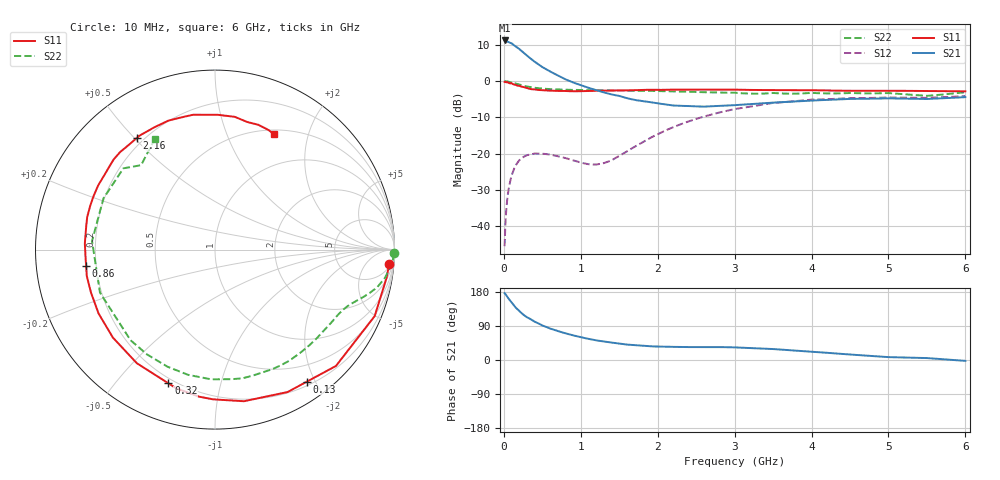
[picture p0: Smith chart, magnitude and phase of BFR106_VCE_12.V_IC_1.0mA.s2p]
! Infineon Technologies  Discrete & RF Semiconductors
! BFR106
! VCE =  12. V,  IC =  1.0 mA
! Common Emitter S-Parameters:  Nov 2015
# GHz  S  MA  R  50
!  f  S11  S21  S12  S22
! GHz  MAG  ANG  MAG  ANG  MAG  ANG  MAG  ANG
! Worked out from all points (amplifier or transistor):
!   210 points, 10 MHz to 6 GHz, reference 50 ohm
!   highest |S21| = 11.2 dB at 10 MHz (marker M1)
!   |S21| within 3 dB of that: start of sweep to 236.8 MHz
!   unconditionally stable (mu >= 1): 854.3 MHz to 1.828 GHz; 3.075 GHz to end of sweep
!   at 185 MHz: K = 0.20, MSG = 15.7 dB, |S12| = -22.3 dB
!   at 1.52 GHz: K = 1.26, MAG = 5.0 dB, |S12| = -20.4 dB
!   at 6 GHz: K = 1.02, MAG = -1.0 dB, |S12| = -4.2 dB
!   S11 on the Smith chart (normalised r, x): 10 MHz: 7, -22; 130 MHz: 0.25, -1.89; 320 MHz: 0.18, -0.70; 860 MHz: 0.16, -0.06; 2.16 GHz: 0.17, +0.51; 6 GHz: 0.56, +1.49
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0.01  0.9737 -4.7  3.624 176.3  0.0053 88.5  0.9999 -1.2
0.025  0.9646 -11.4  3.572 172.7  0.0132 81.8  0.9951 -2.6
0.05  0.9638 -22.6  3.496 164.8  0.0266 77.1  0.9867 -5.0
0.1  0.9351 -43.9  3.322 152.1  0.0497 66.4  0.9597 -9.5
0.13  0.8963 -55.2  3.126 144.6  0.0605 59.0  0.9399 -11.6
0.15  0.8907 -63.0  3.029 139.1  0.0681 55.4  0.9275 -13.1
0.2  0.8601 -79.2  2.767 129.3  0.0808 47.8  0.8946 -15.7
0.26  0.8243 -96.1  2.447 118.6  0.0906 39.7  0.8596 -18.3
0.32  0.789 -109.2  2.157 110.9  0.0959 34.3  0.8337 -20.3
0.4  0.7684 -124.5  1.847 101.1  0.1002 27.8  0.8072 -22.6
0.5  0.751 -139.2  1.559 91.1  0.0999 22.9  0.7864 -25.4
0.7  0.7313 -160.8  1.195 76.4  0.0921 19.3  0.7661 -31.6
0.86  0.7239 -172.7  0.995 67.3  0.0833 21.7  0.7564 -36.6
1.02  0.7257 176.0  0.862 59.2  0.0743 29.4  0.751 -42.2
1.38  0.7387 156.7  0.662 46.6  0.0792 62.4  0.7443 -55.7
2.02  0.7556 130.0  0.49 35.2  0.1893 80.7  0.7268 -83.3
2.16  0.7594 125.0  0.467 34.8  0.2216 79.3  0.7226 -89.8
3.1  0.7571 97.1  0.473 32.4  0.4264 56.6  0.6774 -138.2
3.5  0.7512 88.8  0.504 28.9  0.4995 46.0  0.6842 -159.5
4.1  0.7443 80.4  0.544 20.5  0.5578 30.7  0.6791 171.9
5.1  0.7343 69.9  0.575 7.1  0.5911 11.5  0.67 137.1
6  0.7214 62.8  0.6 -2.3  0.6194 -0.3  0.7007 118.7
